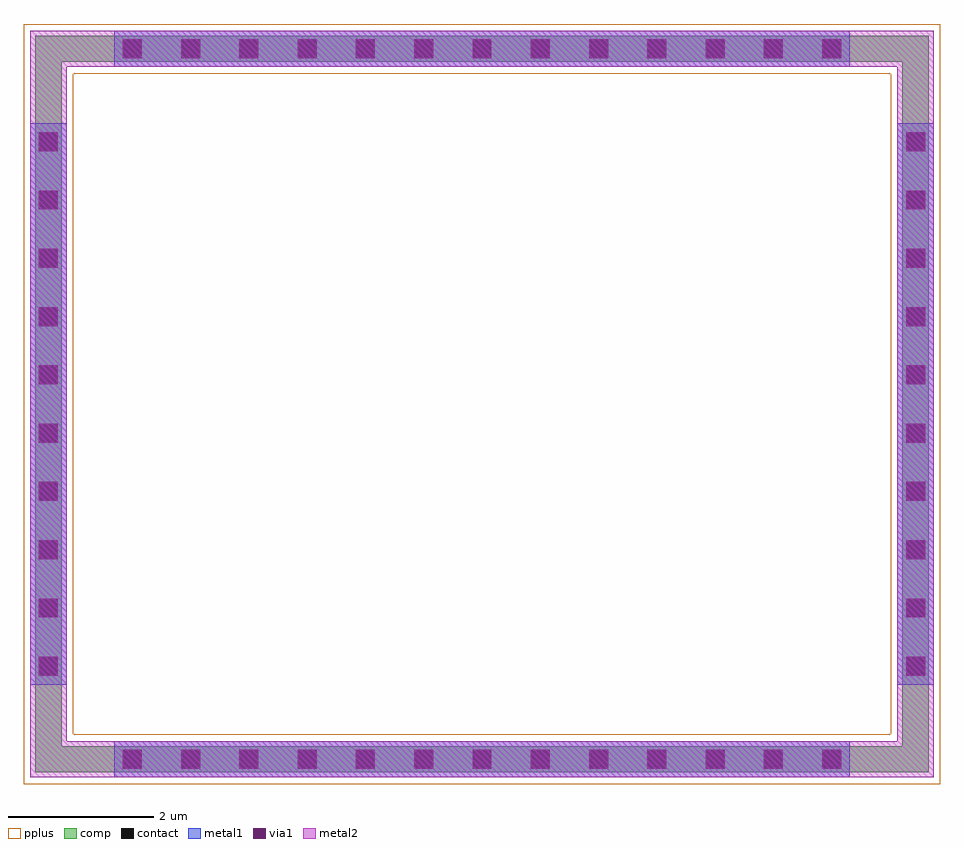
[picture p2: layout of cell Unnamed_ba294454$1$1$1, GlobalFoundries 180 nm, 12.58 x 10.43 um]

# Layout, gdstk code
import gdstk
lib = gdstk.Library(unit=1e-6, precision=5e-09)
def R(c, l, rs):  # rectangles x0, y0, x1, y1
    for r in rs: c.add(gdstk.rectangle(r[:2], r[2:], *l))
def A(c, l, x, y, w, h, nx, ny, dx, dy):  # array of equal rectangles
    R(c, l, [(x+i*dx, y+j*dy, x+i*dx+w, y+j*dy+h) for i in range(nx) for j in range(ny)])
def P(c, l, *ps):  # polygons
    for p in ps: c.add(gdstk.Polygon(p, *l))
comp = (22, 0)
pplus = (31, 0)
contact = (33, 0)
metal1 = (34, 0)
via1 = (35, 0)
metal2 = (36, 0)

unnamed_ba294454_1_1_1 = lib.new_cell('Unnamed_ba294454$1$1$1')
A(unnamed_ba294454_1_1_1, comp, -4.98, -5.055, 0.36, 0.36, 13, 2, 0.8, 9.75)
A(unnamed_ba294454_1_1_1, comp, -6.13, -3.78, 0.36, 0.36, 1, 10, 0, 0.8)
A(unnamed_ba294454_1_1_1, comp, 5.77, -3.78, 0.36, 0.36, 1, 10, 0, 0.8)
R(unnamed_ba294454_1_1_1, comp, [(-4.98,-5.055,4.98,-4.695), (-6.13,-3.78,-5.77,3.78), (5.77,-3.78,6.13,3.78), (-4.98,4.695,4.98,5.055)])
P(unnamed_ba294454_1_1_1, comp, [(-6.13,-5.055),(-6.13,-4.695),(-5.77,-4.695),(5.77,-4.695),(5.77,4.695),(-5.77,4.695),(-5.77,-4.695),(-6.13,-4.695),(-6.13,5.055),(6.13,5.055),(6.13,-5.055)])
P(unnamed_ba294454_1_1_1, pplus, [(-6.29,-5.215),(-6.29,-4.535),(-5.61,-4.535),(5.61,-4.535),(5.61,4.535),(-5.61,4.535),(-5.61,-4.535),(-6.29,-4.535),(-6.29,5.215),(6.29,5.215),(6.29,-5.215)])
A(unnamed_ba294454_1_1_1, contact, -4.91, -4.985, 0.22, 0.22, 13, 2, 0.8, 9.75)
A(unnamed_ba294454_1_1_1, contact, -6.06, -3.71, 0.22, 0.22, 1, 10, 0, 0.8)
A(unnamed_ba294454_1_1_1, contact, 5.84, -3.71, 0.22, 0.22, 1, 10, 0, 0.8)
A(unnamed_ba294454_1_1_1, metal1, -5.05, -5.125, 0.5, 0.5, 13, 2, 0.8, 9.75)
A(unnamed_ba294454_1_1_1, metal1, -6.2, -3.85, 0.5, 0.5, 1, 10, 0, 0.8)
A(unnamed_ba294454_1_1_1, metal1, 5.7, -3.85, 0.5, 0.5, 1, 10, 0, 0.8)
R(unnamed_ba294454_1_1_1, metal1, [(-5.05,-5.125,5.05,-4.625), (-6.2,-3.85,-5.7,3.85), (5.7,-3.85,6.2,3.85), (-5.05,4.625,5.05,5.125)])
A(unnamed_ba294454_1_1_1, via1, -4.93, -5.005, 0.26, 0.26, 13, 2, 0.8, 9.75)
A(unnamed_ba294454_1_1_1, via1, -6.08, -3.73, 0.26, 0.26, 1, 10, 0, 0.8)
A(unnamed_ba294454_1_1_1, via1, 5.82, -3.73, 0.26, 0.26, 1, 10, 0, 0.8)
A(unnamed_ba294454_1_1_1, metal2, -5.05, -5.125, 0.5, 0.5, 13, 2, 0.8, 9.75)
A(unnamed_ba294454_1_1_1, metal2, -6.2, -3.85, 0.5, 0.5, 1, 10, 0, 0.8)
A(unnamed_ba294454_1_1_1, metal2, 5.7, -3.85, 0.5, 0.5, 1, 10, 0, 0.8)
R(unnamed_ba294454_1_1_1, metal2, [(-6.2,-5.125,-5.77,-4.625), (-6.2,-5.125,-5.7,-4.695), (-5.77,-5.125,5.77,-4.625), (5.7,-5.125,6.2,-4.695), (5.77,-5.125,6.2,-4.625), (-6.2,-4.695,-5.7,4.695), (5.7,-4.695,6.2,4.695), (-6.2,4.625,-5.77,5.125), (-5.77,4.625,5.77,5.125), (5.77,4.625,6.2,5.125), (-6.2,4.695,-5.7,5.125), (5.7,4.695,6.2,5.125)])

lib.write_gds('Unnamed_ba294454_1_1_1.gds')
